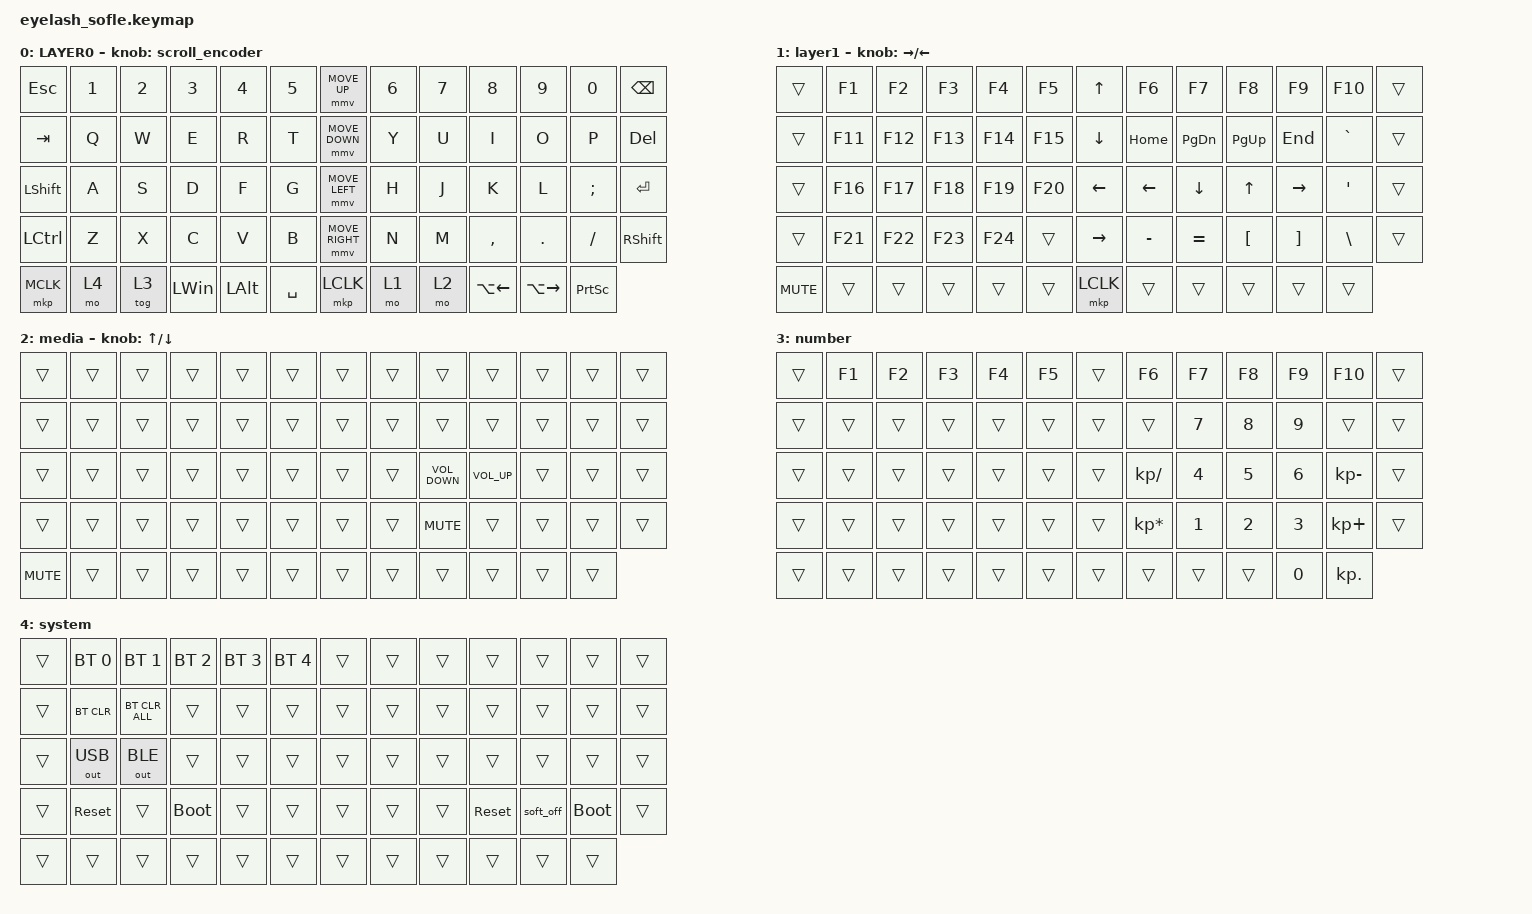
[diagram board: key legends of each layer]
#define ZMK_POINTING_DEFAULT_MOVE_VAL 1200  // 600
#define ZMK_POINTING_DEFAULT_SCRL_VAL 35    // 10

#include <input/processors.dtsi>
#include <zephyr/dt-bindings/input/input-event-codes.h>
#include <behaviors.dtsi>
#include <dt-bindings/zmk/bt.h>
#include <dt-bindings/zmk/keys.h>
#include <dt-bindings/zmk/outputs.h>
#include <dt-bindings/zmk/pointing.h>

/ {
    zip_scroll_scaler: zip_scroll_scaler {
        compatible = "zmk,input-processor-scaler";
        #input-processor-cells = <2>;
        type = <INPUT_EV_REL>;
        codes = <INPUT_REL_WHEEL INPUT_REL_HWHEEL>;
        track-remainders;
    };
};

&mmv_input_listener { input-processors = <&zip_xy_scaler 2 1>; };

&msc_input_listener { input-processors = <&zip_scroll_scaler 2 1>; };

&msc {
    acceleration-exponent = <0>;      // 0
    time-to-max-speed-ms = <0>;       // 300
    delay-ms = <0>;                   // 0
};

&mmv {
    time-to-max-speed-ms = <400>;
    acceleration-exponent = <1>;
};

&soft_off { hold-time-ms = <2000>; };

/ {
    scroll_encoder: scroll_encoder {
        compatible = "zmk,behavior-sensor-rotate";
        #sensor-binding-cells = <0>;
        bindings = <&msc SCRL_DOWN>, <&msc SCRL_UP>;

        tap-ms = <100>;
    };

    macros {
        shift_MB3: shift_MB3 {
            compatible = "zmk,behavior-macro";
            #binding-cells = <0>;
            bindings =
                <&macro_press>,
                <&kp LEFT_SHIFT>,
                <&macro_press>,
                <&mkp MB3>,
                <&macro_pause_for_release>,
                <&macro_release>,
                <&mkp MB3 &kp LEFT_SHIFT>;

            label = "SHIFT_MB3";
        };
    };

    behaviors {
    };

    combos {
        compatible = "zmk,combos";

        softoff {
            bindings = <&soft_off>;
            key-positions = <14 28 40>;
        };
    };

    keymap {
        compatible = "zmk,keymap";

        normal {
            bindings = <
&kp ESC    &kp N1  &kp N2  &kp N3        &kp N4        &kp N5       &mmv MOVE_UP     &kp N6  &kp N7  &kp N8              &kp N9               &kp N0           &kp BACKSPACE
&kp TAB    &kp Q   &kp W   &kp E         &kp R         &kp T        &mmv MOVE_DOWN   &kp Y   &kp U   &kp I               &kp O                &kp P            &kp DELETE
&kp LSHFT  &kp A   &kp S   &kp D         &kp F         &kp G        &mmv MOVE_LEFT   &kp H   &kp J   &kp K               &kp L                &kp SEMI         &kp ENTER
&kp LCTRL  &kp Z   &kp X   &kp C         &kp V         &kp B        &mmv MOVE_RIGHT  &kp N   &kp M   &kp COMMA           &kp DOT              &kp FSLH         &kp RSHFT
&mkp MCLK  &mo 4   &tog 3  &kp LEFT_WIN  &kp LEFT_ALT  &kp SPACE    &mkp LCLK        &mo 1   &mo 2   &kp LA(LEFT_ARROW)  &kp LA(RIGHT_ARROW)  &kp PRINTSCREEN
            >;

            sensor-bindings = <&scroll_encoder>;
            display-name = "LAYER0";
        };

        navigate {
            bindings = <
&trans      &kp F1   &kp F2   &kp F3   &kp F4   &kp F5     &kp UP_ARROW     &kp F6          &kp F7          &kp F8        &kp F9     &kp F10    &trans
&trans      &kp F11  &kp F12  &kp F13  &kp F14  &kp F15    &kp DOWN_ARROW   &kp HOME        &kp PAGE_DOWN   &kp PAGE_UP   &kp END    &kp GRAVE  &trans
&trans      &kp F16  &kp F17  &kp F18  &kp F19  &kp F20    &kp LEFT_ARROW   &kp LEFT_ARROW  &kp DOWN_ARROW  &kp UP_ARROW  &kp RIGHT  &kp APOS   &trans
&trans      &kp F21  &kp F22  &kp F23  &kp F24  &trans     &kp RIGHT_ARROW  &kp MINUS       &kp EQUAL       &kp LBKT      &kp RBKT   &kp BSLH   &trans
&kp C_MUTE  &trans   &trans   &trans   &trans   &trans     &mkp LCLK        &trans          &trans          &trans        &trans     &trans
            >;

            display-name = "layer1";
            sensor-bindings = <&inc_dec_kp RIGHT LEFT_ARROW>;
        };

        media {
            bindings = <
&trans      &trans  &trans  &trans  &trans  &trans    &trans  &trans  &trans             &trans           &trans  &trans  &trans
&trans      &trans  &trans  &trans  &trans  &trans    &trans  &trans  &trans             &trans           &trans  &trans  &trans
&trans      &trans  &trans  &trans  &trans  &trans    &trans  &trans  &kp C_VOLUME_DOWN  &kp C_VOLUME_UP  &trans  &trans  &trans
&trans      &trans  &trans  &trans  &trans  &trans    &trans  &trans  &kp C_MUTE         &trans           &trans  &trans  &trans
&kp C_MUTE  &trans  &trans  &trans  &trans  &trans    &trans  &trans  &trans             &trans           &trans  &trans
            >;

            sensor-bindings = <&inc_dec_kp UP_ARROW DOWN_ARROW>;
        };

        number {
            bindings = <
&trans  &kp F1  &kp F2  &kp F3  &kp F4  &kp F5    &trans  &kp F6           &kp F7  &kp F8  &kp F9  &kp F10          &trans
&trans  &trans  &trans  &trans  &trans  &trans    &trans  &trans           &kp N7  &kp N8  &kp N9  &trans           &trans
&trans  &trans  &trans  &trans  &trans  &trans    &trans  &kp KP_DIVIDE    &kp N4  &kp N5  &kp N6  &kp KP_SUBTRACT  &trans
&trans  &trans  &trans  &trans  &trans  &trans    &trans  &kp KP_MULTIPLY  &kp N1  &kp N2  &kp N3  &kp KP_PLUS      &trans
&trans  &trans  &trans  &trans  &trans  &trans    &trans  &trans           &trans  &trans  &kp N0  &kp KP_DOT
            >;
        };

        system {
            bindings = <
&trans  &bt BT_SEL 0  &bt BT_SEL 1    &bt BT_SEL 2  &bt BT_SEL 3  &bt BT_SEL 4    &trans  &trans  &trans  &trans      &trans     &trans       &trans
&trans  &bt BT_CLR    &bt BT_CLR_ALL  &trans        &trans        &trans          &trans  &trans  &trans  &trans      &trans     &trans       &trans
&trans  &out OUT_USB  &out OUT_BLE    &trans        &trans        &trans          &trans  &trans  &trans  &trans      &trans     &trans       &trans
&trans  &sys_reset    &trans          &bootloader   &trans        &trans          &trans  &trans  &trans  &sys_reset  &soft_off  &bootloader  &trans
&trans  &trans        &trans          &trans        &trans        &trans          &trans  &trans  &trans  &trans      &trans     &trans
            >;
        };
    };
};
